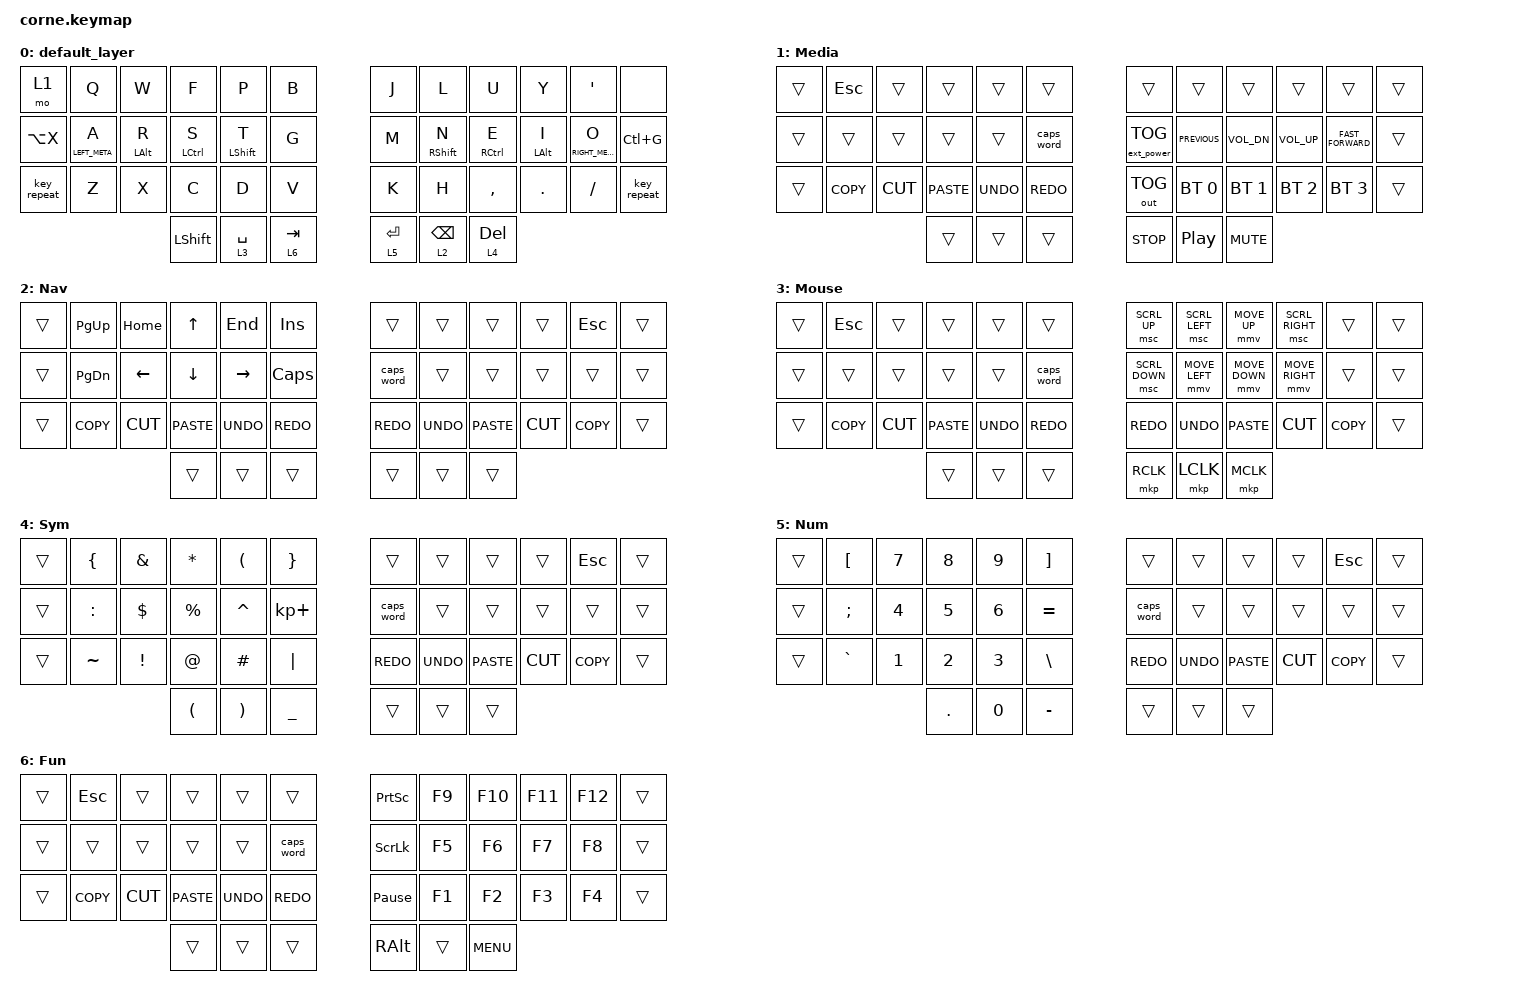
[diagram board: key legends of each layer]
/*
 * Copyright (c) 2020 The ZMK Contributors
 *
 * SPDX-License-Identifier: MIT
 */

#include <behaviors.dtsi>
#include <dt-bindings/zmk/bt.h>
#include <dt-bindings/zmk/ext_power.h>
#include <dt-bindings/zmk/keys.h>
#include <dt-bindings/zmk/outputs.h>
#include <dt-bindings/zmk/pointing.h>

/ {
    keymap {
        compatible = "zmk,keymap";

        default_layer {
            // -----------------------------------------------------------------------------------------
            // |  TAB |  Q  |  W  |  E  |  R  |  T  |   |  Y  |  U   |  I  |  O  |  P  | BKSP |
            // | CTRL |  A  |  S  |  D  |  F  |  G  |   |  H  |  J   |  K  |  L  |  ;  |  '   |
            // | SHFT |  Z  |  X  |  C  |  V  |  B  |   |  N  |  M   |  ,  |  .  |  /  | ESC  |
            //                    | GUI | LWR | SPC |   | ENT | RSE  | ALT |

            bindings = <
&mo 1        &kp Q            &kp W           &kp F           &kp P        &kp B        &kp J      &kp L            &kp U        &kp Y           &kp SQT           &none
&kp LA(X)    &mt LEFT_META A  &mt LEFT_ALT R  &mt LCTRL S     &mt LSHFT T  &kp G        &kp M      &mt RSHFT N      &mt RCTRL E  &mt LEFT_ALT I  &mt RIGHT_META O  &kp LC(G)
&key_repeat  &kp Z            &kp X           &kp C           &kp D        &kp V        &kp K      &kp H            &kp COMMA    &kp DOT         &kp FSLH          &key_repeat
                                              &kp LEFT_SHIFT  &lt 3 SPACE  &lt 6 TAB    &lt 5 RET  &lt 2 BACKSPACE  &lt 4 DEL
            >;
        };

        Media {
            // -----------------------------------------------------------------------------------------
            // |  TAB |  1  |  2  |  3  |  4  |  5  |   |  6  |  7  |  8  |  9  |  0  | BKSP |
            // | BTCLR| BT1 | BT2 | BT3 | BT4 | BT5 |   | LFT | DWN |  UP | RGT |     |      |
            // | SHFT |     |     |     |     |     |   |     |     |     |     |     |      |
            //                    | GUI |     | SPC |   | ENT |     | ALT |

            bindings = <
&trans  &kp ESC     &trans     &trans       &trans      &trans        &trans             &trans            &trans        &trans        &trans              &trans
&trans  &trans      &trans     &trans       &trans      &caps_word    &ext_power EP_TOG  &kp C_PREVIOUS    &kp C_VOL_DN  &kp C_VOL_UP  &kp C_FAST_FORWARD  &trans
&trans  &kp K_COPY  &kp K_CUT  &kp K_PASTE  &kp K_UNDO  &kp K_REDO    &out OUT_TOG       &bt BT_SEL 0      &bt BT_SEL 1  &bt BT_SEL 2  &bt BT_SEL 3        &trans
                               &trans       &trans      &trans        &kp C_STOP         &kp C_PLAY_PAUSE  &kp C_MUTE
            >;
        };

        Nav {
            // -----------------------------------------------------------------------------------------
            // |  TAB |  !  |  @  |  #  |  $  |  %  |   |  ^  |  &  |  *  |  (  |  )  | BKSP |
            // | CTRL |     |     |     |     |     |   |  -  |  =  |  [  |  ]  |  \  |  `   |
            // | SHFT |     |     |     |     |     |   |  _  |  +  |  {  |  }  | "|" |  ~   |
            //                    | GUI |     | SPC |   | ENT |     | ALT |

            bindings = <
&trans  &kp PG_UP   &kp HOME   &kp UP       &kp END     &kp INS       &trans      &trans      &trans       &trans     &kp ESC     &trans
&trans  &kp PG_DN   &kp LEFT   &kp DOWN     &kp RIGHT   &kp CAPS      &caps_word  &trans      &trans       &trans     &trans      &trans
&trans  &kp K_COPY  &kp K_CUT  &kp K_PASTE  &kp K_UNDO  &kp K_REDO    &kp K_REDO  &kp K_UNDO  &kp K_PASTE  &kp K_CUT  &kp K_COPY  &trans
                               &trans       &trans      &trans        &trans      &trans      &trans
            >;
        };

        Mouse {
            bindings = <
&trans  &kp ESC     &trans     &trans       &trans      &trans        &msc SCRL_UP    &msc SCRL_LEFT  &mmv MOVE_UP    &msc SCRL_RIGHT  &trans      &trans
&trans  &trans      &trans     &trans       &trans      &caps_word    &msc SCRL_DOWN  &mmv MOVE_LEFT  &mmv MOVE_DOWN  &mmv MOVE_RIGHT  &trans      &trans
&trans  &kp K_COPY  &kp K_CUT  &kp K_PASTE  &kp K_UNDO  &kp K_REDO    &kp K_REDO      &kp K_UNDO      &kp K_PASTE     &kp K_CUT        &kp K_COPY  &trans
                               &trans       &trans      &trans        &mkp RCLK       &mkp LCLK       &mkp MCLK
            >;
        };

        Sym {
            bindings = <
&trans  &kp LEFT_BRACE  &kp AMPERSAND    &kp ASTRK             &kp LEFT_PARENTHESIS   &kp RIGHT_BRACE    &trans      &trans      &trans       &trans     &kp ESC     &trans
&trans  &kp COLON       &kp DOLLAR       &kp PERCENT           &kp CARET              &kp KP_PLUS        &caps_word  &trans      &trans       &trans     &trans      &trans
&trans  &kp TILDE       &kp EXCLAMATION  &kp AT_SIGN           &kp POUND              &kp PIPE           &kp K_REDO  &kp K_UNDO  &kp K_PASTE  &kp K_CUT  &kp K_COPY  &trans
                                         &kp LEFT_PARENTHESIS  &kp RIGHT_PARENTHESIS  &kp UNDERSCORE     &trans      &trans      &trans
            >;
        };

        Num {
            bindings = <
&trans  &kp LBKT   &kp N7  &kp N8   &kp N9  &kp RBKT     &trans      &trans      &trans       &trans     &kp ESC     &trans
&trans  &kp SEMI   &kp N4  &kp N5   &kp N6  &kp EQUAL    &caps_word  &trans      &trans       &trans     &trans      &trans
&trans  &kp GRAVE  &kp N1  &kp N2   &kp N3  &kp BSLH     &kp K_REDO  &kp K_UNDO  &kp K_PASTE  &kp K_CUT  &kp K_COPY  &trans
                           &kp DOT  &kp N0  &kp MINUS    &trans      &trans      &trans
            >;
        };

        Fun {
            bindings = <
&trans  &kp ESC     &trans     &trans       &trans      &trans        &kp PSCRN        &kp F9  &kp F10     &kp F11  &kp F12  &trans
&trans  &trans      &trans     &trans       &trans      &caps_word    &kp SCROLLLOCK   &kp F5  &kp F6      &kp F7   &kp F8   &trans
&trans  &kp K_COPY  &kp K_CUT  &kp K_PASTE  &kp K_UNDO  &kp K_REDO    &kp PAUSE_BREAK  &kp F1  &kp F2      &kp F3   &kp F4   &trans
                               &trans       &trans      &trans        &kp RALT         &trans  &kp C_MENU
            >;
        };
    };
};
